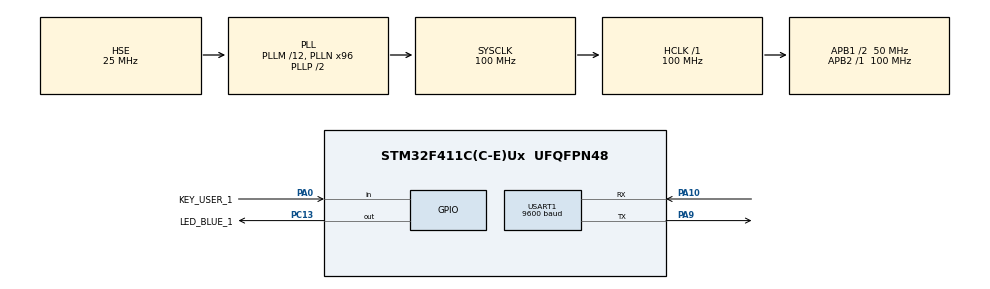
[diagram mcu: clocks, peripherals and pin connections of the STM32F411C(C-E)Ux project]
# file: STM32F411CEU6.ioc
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IWDG.Prescaler=IWDG_PRESCALER_32
IWDG.Reload=4000
Mcu.Family=STM32F4
Mcu.Name=STM32F411C(C-E)Ux
Mcu.Package=UFQFPN48
NVIC.PriorityGroup=NVIC_PRIORITYGROUP_4
NVIC.USART1_IRQn=true\:0\:0\:false\:false\:true\:true\:true\:true
PA0-WKUP.GPIO_Label=KEY_USER_1
PA0-WKUP.GPIO_PuPd=GPIO_PULLUP
PA0-WKUP.Signal=GPIO_Input
PA10.Mode=Asynchronous
PA10.Signal=USART1_RX
PA9.Mode=Asynchronous
PA9.Signal=USART1_TX
PC13-ANTI_TAMP.GPIO_Label=LED_BLUE_1
PC13-ANTI_TAMP.GPIO_ModeDefaultOutputPP=GPIO_MODE_OUTPUT_PP
PC13-ANTI_TAMP.GPIO_PuPd=GPIO_PULLUP
PC13-ANTI_TAMP.GPIO_Speed=GPIO_SPEED_FREQ_LOW
PC13-ANTI_TAMP.PinState=GPIO_PIN_SET
PC13-ANTI_TAMP.Signal=GPIO_Output
PC14-OSC32_IN.Mode=LSE-External-Oscillator
PC14-OSC32_IN.Signal=RCC_OSC32_IN
PC15-OSC32_OUT.Mode=LSE-External-Oscillator
PC15-OSC32_OUT.Signal=RCC_OSC32_OUT
PH0\ -\ OSC_IN.Mode=HSE-External-Oscillator
PH0\ -\ OSC_IN.Signal=RCC_OSC_IN
PH1\ -\ OSC_OUT.Mode=HSE-External-Oscillator
PH1\ -\ OSC_OUT.Signal=RCC_OSC_OUT
ProjectManager.HeapSize=0x200
ProjectManager.StackSize=0x400
ProjectManager.TargetToolchain=MDK-ARM V5.32
RCC.48MHZClocksFreq_Value=50000000
RCC.AHBFreq_Value=100000000
RCC.APB1CLKDivider=RCC_HCLK_DIV2
RCC.APB1Freq_Value=50000000
RCC.APB1TimFreq_Value=100000000
RCC.APB2Freq_Value=100000000
RCC.APB2TimFreq_Value=100000000
RCC.CortexFreq_Value=100000000
RCC.HCLKFreq_Value=100000000
RCC.HSE_VALUE=25000000
RCC.HSI_VALUE=16000000
RCC.PLLM=12
RCC.PLLN=96
RCC.PLLSourceVirtual=RCC_PLLSOURCE_HSE
RCC.SYSCLKFreq_VALUE=100000000
RCC.SYSCLKSource=RCC_SYSCLKSOURCE_PLLCLK
RCC.VCOOutputFreq_Value=200000000
USART1.BaudRate=9600
USART1.VirtualMode=VM_ASYNC
VP_IWDG_VS_IWDG.Mode=IWDG_Activate
board=custom

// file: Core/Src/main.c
/* USER CODE BEGIN Header */
/**
  ******************************************************************************
  * @file           : main.c
  * @brief          : Main program body
  ******************************************************************************
  * @attention
  *
  * Copyright (c) 2025 STMicroelectronics.
  * All rights reserved.
  *
  * This software is licensed under terms that can be found in the LICENSE file
  * in the root directory of this software component.
  * If no LICENSE file comes with this software, it is provided AS-IS.
  *
  ******************************************************************************
  */
/* USER CODE END Header */
#include "main.h"
#include "iwdg.h"
#include "usart.h"
#include "gpio.h"

/* USER CODE BEGIN PTD */
static void _app_key_callback(const bsp_driver_key_object_t *dev);
/* USER CODE END PTD */

void SystemClock_Config(void);

/* USER CODE BEGIN 0 */
static void _app_key_callback(const bsp_driver_key_object_t *dev)
{
  bsp_driver_led_object_t blue_led = {0};
  bsp_driver_led_get_object(0, &blue_led);

  switch(dev->key_state.key_state) {
    case KEY_DRIVER_PRESS_EVENT: {
      break;
    }
    case KEY_DRIVER_RELEASE_EVENT: {
      break;
    }
    case KEY_DRIVER_SHORT_PRESS_EVENT: {
	  bsp_driver_led_on(&blue_led);
	  HAL_Delay(100);
	  bsp_driver_led_off(&blue_led);
	  HAL_Delay(100);
      break;
    }
    case KEY_DRIVER_LONG_PRESS_EVENT: {
      break;
    }
    case KEY_DRIVER_DOUBLE_SHORT_PRESS_EVENT: {
      break;
    }
    case KEY_DRIVER_CONTINUE_PRESS_EVENT: {
      break;
    }
    default:
      break;
  }
}

/* USER CODE END 0 */

int main(void)
{

  /* MCU Configuration--------------------------------------------------------*/

  /* Reset of all peripherals, Initializes the Flash interface and the Systick. */
  HAL_Init();

  /* Configure the system clock */
  SystemClock_Config();

  /* Initialize all configured peripherals */
  MX_GPIO_Init();
  MX_USART1_UART_Init();
  MX_IWDG_Init();
  /* USER CODE BEGIN 2 */
  	app_adapter_iwdg_register();				  /**< 将实例注册到iwdg驱动中 */

	bsp_driver_iwdg_object_t iwdg_obj = {0};	  /**< 对象指针 */
	bsp_driver_iwdg_get_object(0, &iwdg_obj);	  /**< 获取目标对象 */
	bsp_driver_iwdg_init(&iwdg_obj);			  /**< 目标对象初始化 */

    app_adapter_led_register();                   /**< 将实例注册到led驱动中 */
    app_adapter_key_register(_app_key_callback);  /**< 将实例注册到key驱动中 */
    app_adapter_flash_register();                 /**< 将实例注册到flash驱动中 */
    app_adapter_uart_register();                  /**< 将实例注册到uart驱动中 */

    bsp_driver_led_object_t blue_led = {0};		  /**< 对象指针 */
    bsp_driver_led_get_object(0, &blue_led);      /**< 获取目标对象 */
    bsp_driver_led_init(&blue_led);               /**< 目标对象初始化 */

    bsp_driver_key_object_t user_key = {0};		  /**< 对象指针 */
    bsp_driver_key_get_object(0, &user_key);	  /**< 获取目标对象 */
    bsp_driver_key_init(&user_key);               /**< 目标对象初始化 */

    bsp_driver_flash_object_t in_flash = {0};	  /**< 对象指针 */
    bsp_driver_flash_get_object(0, &in_flash);	  /**< 获取目标对象 */
    bsp_driver_flash_init(&in_flash);             /**< 目标对象初始化 */

    bsp_driver_uart_object_t uart1_obj = {0};     /**< 对象指针 */
    bsp_driver_uart_get_object(0, &uart1_obj);    /**< 获取目标对象 */
    bsp_driver_uart_init(&uart1_obj);             /**< 目标对象初始化 */

  /* USER CODE END 2 */

  /* Infinite loop */
  /* USER CODE BEGIN WHILE */
  while (1)
  {
		/**< 1.喂狗 */
		bsp_driver_iwdg_feed(&iwdg_obj);

		/**< 2.检测强制升级信号 */
		app_updata_force();

		/**< 3.检测计划升级信号 */
		app_updata_general();

		/**< 4.跳转到APPLIATION中执行 */
		app_updata_jump_app();

    /* USER CODE END WHILE */

  }
}

void SystemClock_Config(void)
{
  RCC_OscInitTypeDef RCC_OscInitStruct = {0};
  RCC_ClkInitTypeDef RCC_ClkInitStruct = {0};

  /** Configure the main internal regulator output voltage
  */
  __HAL_RCC_PWR_CLK_ENABLE();
  __HAL_PWR_VOLTAGESCALING_CONFIG(PWR_REGULATOR_VOLTAGE_SCALE1);

  /** Initializes the RCC Oscillators according to the specified parameters
  * in the RCC_OscInitTypeDef structure.
  */
  RCC_OscInitStruct.OscillatorType = RCC_OSCILLATORTYPE_LSI|RCC_OSCILLATORTYPE_HSE;
  RCC_OscInitStruct.HSEState = RCC_HSE_ON;
  RCC_OscInitStruct.LSIState = RCC_LSI_ON;
  RCC_OscInitStruct.PLL.PLLState = RCC_PLL_ON;
  RCC_OscInitStruct.PLL.PLLSource = RCC_PLLSOURCE_HSE;
  RCC_OscInitStruct.PLL.PLLM = 12;
  RCC_OscInitStruct.PLL.PLLN = 96;
  RCC_OscInitStruct.PLL.PLLP = RCC_PLLP_DIV2;
  RCC_OscInitStruct.PLL.PLLQ = 4;
  if (HAL_RCC_OscConfig(&RCC_OscInitStruct) != HAL_OK)
  {
    Error_Handler();
  }

  /** Initializes the CPU, AHB and APB buses clocks
  */
  RCC_ClkInitStruct.ClockType = RCC_CLOCKTYPE_HCLK|RCC_CLOCKTYPE_SYSCLK
                              |RCC_CLOCKTYPE_PCLK1|RCC_CLOCKTYPE_PCLK2;
  RCC_ClkInitStruct.SYSCLKSource = RCC_SYSCLKSOURCE_PLLCLK;
  RCC_ClkInitStruct.AHBCLKDivider = RCC_SYSCLK_DIV1;
  RCC_ClkInitStruct.APB1CLKDivider = RCC_HCLK_DIV2;
  RCC_ClkInitStruct.APB2CLKDivider = RCC_HCLK_DIV1;

  if (HAL_RCC_ClockConfig(&RCC_ClkInitStruct, FLASH_LATENCY_3) != HAL_OK)
  {
    Error_Handler();
  }
}

void Error_Handler(void)
{
  __disable_irq();
  while (1)
  {
  }
}
